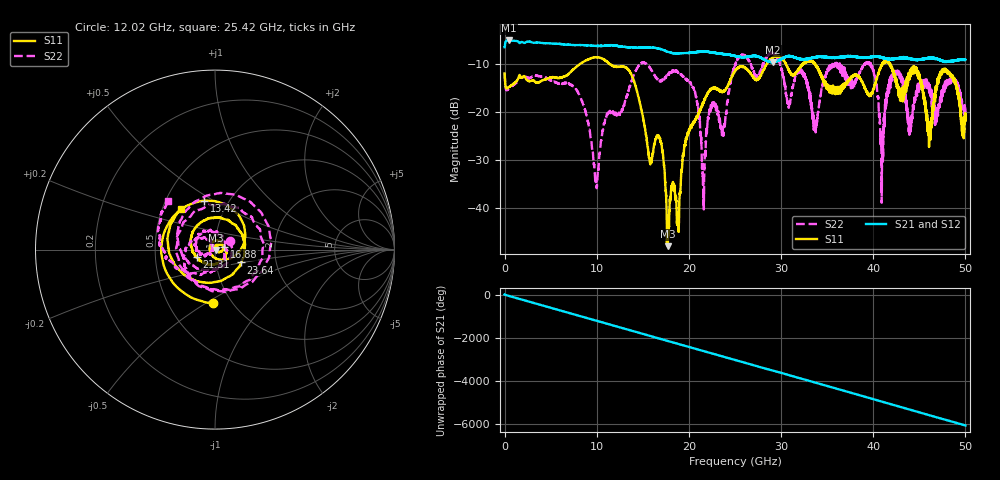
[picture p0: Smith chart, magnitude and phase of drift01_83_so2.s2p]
!Created with skrf (http://scikit-rf.org).
# Hz S RI R 50.0
!freq ReS11 ImS11 ReS21 ImS21 ReS12 ImS12 ReS22 ImS22
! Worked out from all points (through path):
!   10001 points, 300 kHz to 50 GHz, reference 50 ohm
!   highest |S21| = -5.05 dB at 480.3 MHz (marker M1); lowest = -9.6 dB at 29.12 GHz (marker M2)
!   group delay of S21, straight-line fit = 336 ps
!   lowest |S11| = -47.9 dB at 17.69 GHz (marker M3), VSWR 1.01, Z = 50.4 - j0.134 ohm
!   |S11| at or under -10 dB: start of sweep to 8.152 GHz; 11.43 GHz to 28.42 GHz (16.99 GHz wide, 85.3 % of centre); 41.86 GHz to end of sweep (the widest 3 of 13)
!   |S22| runs from -40.2 to -7.6 dB; largest |S21 - S12| = 0.014
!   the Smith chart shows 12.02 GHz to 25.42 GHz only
!   S11 on the Smith chart (normalised r, x): 12.02 GHz: 0.82, -0.54; 13.42 GHz: 0.77, +0.45; 16.88 GHz: 1.11, +0.03; 21.31 GHz: 0.81, -0.07; 23.64 GHz: 1.32, -0.19; 25.42 GHz: 0.62, +0.31
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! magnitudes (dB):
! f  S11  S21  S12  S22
! 300 kHz  -11.9  -6.5  -6.5  -11.8
! 480.3 MHz  -14.7  -5.1  -5.1  -15.1
! 8.335 GHz  -9.7  -6.0  -6.0  -17.4
! 9.945 GHz  -8.6  -6.2  -6.2  -34.8
! 12.02 GHz  -10.5  -6.1  -6.1  -20.5
! 13.42 GHz  -11.1  -6.5  -6.5  -15.6
! 15.76 GHz  -30.3  -6.5  -6.5  -10.7
! 16.67 GHz  -24.9  -6.7  -6.7  -13.3
! 16.88 GHz  -25.6  -6.8  -6.8  -13.5
! 17.69 GHz  -47.9  -7.4  -7.4  -12.3
! 20.42 GHz  -22.5  -7.6  -7.6  -14.8
! 21.31 GHz  -19.2  -7.4  -7.4  -24.6
! 23.64 GHz  -15.8  -7.8  -7.9  -24.0
! 25 GHz  -11.4  -8.3  -8.3  -10.1
! 25.42 GHz  -10.6  -8.4  -8.5  -8.5
! 29.12 GHz  -8.6  -9.6  -9.6  -7.7
! 33.34 GHz  -9.4  -8.7  -8.7  -18.7
! 39.48 GHz  -16.2  -8.6  -8.6  -9.8
! 40.97 GHz  -10.1  -8.7  -8.7  -26.5
! 41.67 GHz  -9.5  -8.8  -8.9  -14.1
! 48.03 GHz  -11.5  -9.5  -9.5  -13.8
! 50 GHz  -21.0  -9.1  -9.1  -20.1
